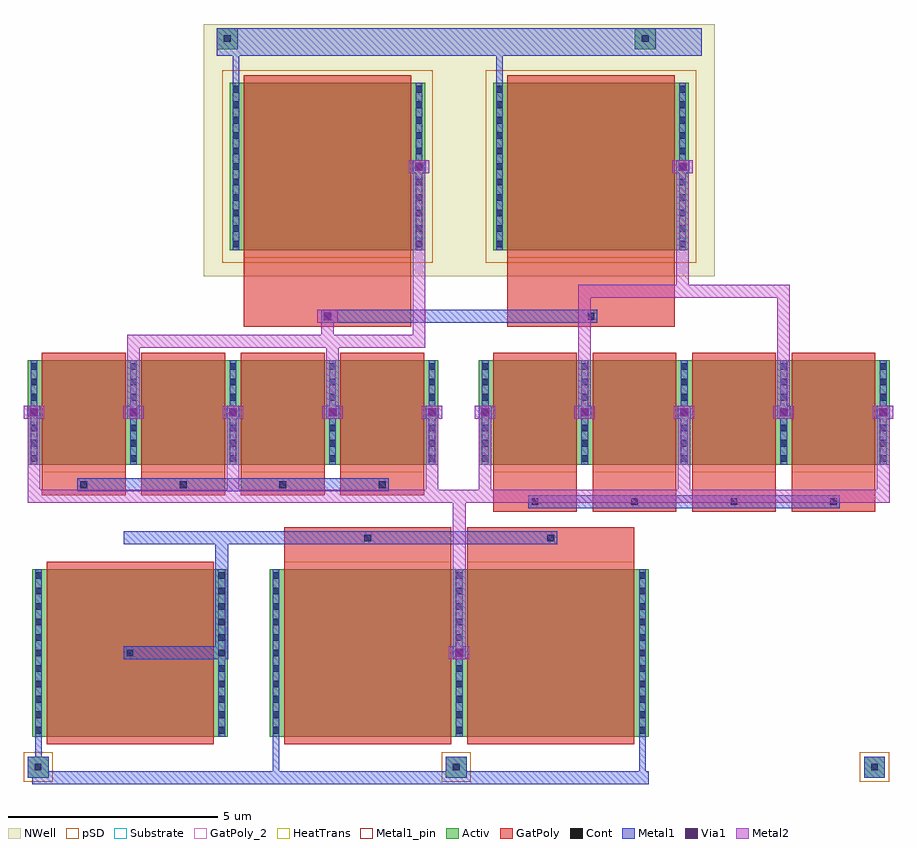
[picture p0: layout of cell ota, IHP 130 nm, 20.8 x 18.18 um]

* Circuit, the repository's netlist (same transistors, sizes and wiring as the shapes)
.subckt ota bias_n tail mid_p ota_out vref_ota sum_n gnd vdd
MMbias_d bias_n bias_n gnd gnd sg13_lv_nmos w=4u l=4u ng=1 m=1
MMtail_0 tail bias_n gnd gnd sg13_lv_nmos w=4u l=4u ng=1 m=1
MMtail_1 gnd bias_n tail gnd sg13_lv_nmos w=4u l=4u ng=1 m=1
MMin_p_0 mid_p vref_ota tail gnd sg13_lv_nmos w=2.5u l=2u ng=1 m=1
MMin_p_1 tail vref_ota mid_p gnd sg13_lv_nmos w=2.5u l=2u ng=1 m=1
MMin_p_2 mid_p vref_ota tail gnd sg13_lv_nmos w=2.5u l=2u ng=1 m=1
MMin_p_3 tail vref_ota mid_p gnd sg13_lv_nmos w=2.5u l=2u ng=1 m=1
MMin_n_0 ota_out sum_n tail gnd sg13_lv_nmos w=2.5u l=2u ng=1 m=1
MMin_n_1 tail sum_n ota_out gnd sg13_lv_nmos w=2.5u l=2u ng=1 m=1
MMin_n_2 ota_out sum_n tail gnd sg13_lv_nmos w=2.5u l=2u ng=1 m=1
MMin_n_3 tail sum_n ota_out gnd sg13_lv_nmos w=2.5u l=2u ng=1 m=1
MMp_load_p mid_p mid_p vdd vdd sg13_lv_pmos w=4u l=4u ng=1 m=1
MMp_load_n ota_out mid_p vdd vdd sg13_lv_pmos w=4u l=4u ng=1 m=1
.ends ota

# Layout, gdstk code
import gdstk
lib = gdstk.Library(unit=1e-6, precision=1e-09)
def R(c, l, rs):  # rectangles x0, y0, x1, y1
    for r in rs: c.add(gdstk.rectangle(r[:2], r[2:], *l))
def A(c, l, x, y, w, h, nx, ny, dx, dy):  # array of equal rectangles
    R(c, l, [(x+i*dx, y+j*dy, x+i*dx+w, y+j*dy+h) for i in range(nx) for j in range(ny)])
Activ = (1, 0)
GatPoly = (5, 0)
GatPoly_2 = (5, 2)
Cont = (6, 0)
Metal1 = (8, 0)
Metal1_pin = (8, 2)
Metal2 = (10, 0)
pSD = (14, 0)
Via1 = (19, 0)
NWell = (31, 0)
Substrate = (40, 0)
HeatTrans = (51, 0)

nmos = lib.new_cell('nmos')
R(nmos, Activ, [(0,0,0.3,0.3), (0,0,4.68,4), (4.38,0,4.68,0.3)])
R(nmos, GatPoly, [(0.34,-0.18,4.34,4.18)])
R(nmos, GatPoly_2, [(0.34,-0.18,4.34,4.18)])
A(nmos, Cont, 0.07, 0.07, 0.16, 0.16, 1, 11, 0, 0.37)
A(nmos, Cont, 4.45, 0.07, 0.16, 0.16, 1, 11, 0, 0.37)
R(nmos, Metal1, [(0.07,0,0.23,4), (4.45,0,4.61,4)])
R(nmos, Metal1_pin, [(0.07,0,0.23,4), (4.45,0,4.61,4)])
R(nmos, HeatTrans, [(0.34,-0.18,4.34,4.18)])
nmos.add(gdstk.Label('nmos', (2.34,2), layer=63, texttype=0))
nmos.add(gdstk.Label('nmos', (2.34,2), layer=51, texttype=0))

nmos_1 = lib.new_cell('nmos$1')
A(nmos_1, Activ, 0, 0, 0.3, 0.3, 3, 1, 4.38, 0)
R(nmos_1, Activ, [(0,0,9.06,4)])
R(nmos_1, GatPoly, [(0.34,-0.18,4.34,4.18), (4.72,-0.18,8.72,4.18)])
R(nmos_1, GatPoly_2, [(0.34,-0.18,4.34,4.18)])
A(nmos_1, Cont, 0.07, 0.07, 0.16, 0.16, 3, 11, 4.38, 0.37)
A(nmos_1, Metal1, 0.07, 0, 0.16, 4, 3, 1, 4.38, 0)
R(nmos_1, Metal1_pin, [(0.07,0,0.23,4), (4.45,0,4.61,4)])
R(nmos_1, HeatTrans, [(0.34,-0.18,4.34,4.18), (4.72,-0.18,8.72,4.18)])
nmos_1.add(gdstk.Label('nmos', (2.34,2), layer=63, texttype=0))
nmos_1.add(gdstk.Label('nmos', (2.34,2), layer=51, texttype=0))
nmos_1.add(gdstk.Label('nmos', (6.72,2), layer=51, texttype=0))

nmos_2 = lib.new_cell('nmos$2')
A(nmos_2, Activ, 0, 0, 0.3, 0.3, 5, 1, 2.38, 0)
R(nmos_2, Activ, [(0,0,9.82,2.5)])
A(nmos_2, GatPoly, 0.34, -0.18, 2, 2.86, 4, 1, 2.38, 0)
R(nmos_2, GatPoly_2, [(0.34,-0.18,2.34,2.68)])
A(nmos_2, Cont, 0.07, 0.07, 0.16, 0.16, 5, 3, 2.38, 0.365)
A(nmos_2, Cont, 0.07, 1.17, 0.16, 0.16, 5, 3, 2.38, 0.365)
A(nmos_2, Cont, 0.07, 2.27, 0.16, 0.16, 5, 1, 2.38, 0)
A(nmos_2, Metal1, 0.07, 0, 0.16, 2.5, 5, 1, 2.38, 0)
R(nmos_2, Metal1_pin, [(0.07,0,0.23,2.5), (2.45,0,2.61,2.5)])
A(nmos_2, HeatTrans, 0.34, -0.18, 2, 2.86, 4, 1, 2.38, 0)
nmos_2.add(gdstk.Label('nmos', (1.34,1.25), layer=63, texttype=0))
nmos_2.add(gdstk.Label('nmos', (1.34,1.25), layer=51, texttype=0))
nmos_2.add(gdstk.Label('nmos', (3.72,1.25), layer=51, texttype=0))
nmos_2.add(gdstk.Label('nmos', (6.1,1.25), layer=51, texttype=0))
nmos_2.add(gdstk.Label('nmos', (8.48,1.25), layer=51, texttype=0))

pmos = lib.new_cell('pmos')
R(pmos, Activ, [(0,0,0.3,0.3), (0,0,4.68,4), (4.38,0,4.68,0.3)])
R(pmos, GatPoly, [(0.34,-0.18,4.34,4.18), (0.34,-0.18,4.34,4.18)])
A(pmos, Cont, 0.07, 0.07, 0.16, 0.16, 1, 11, 0, 0.37)
A(pmos, Cont, 4.45, 0.07, 0.16, 0.16, 1, 11, 0, 0.37)
R(pmos, Metal1, [(0.07,0,0.23,4), (0.07,0,0.23,4), (4.45,0,4.61,4), (4.45,0,4.61,4)])
R(pmos, pSD, [(-0.18,-0.3,4.86,4.3)])
R(pmos, NWell, [(-0.31,-0.31,4.99,4.31)])
R(pmos, Substrate, [(4.38,0,4.68,0.3)])
R(pmos, HeatTrans, [(0.34,-0.18,4.34,4.18)])
pmos.add(gdstk.Label('pmos', (2.34,2), layer=63, texttype=0))
pmos.add(gdstk.Label('pmos', (2.34,2), layer=51, texttype=0))

ota = lib.new_cell('ota')
A(ota, Activ, 0, -0.8, 0.5, 0.5, 3, 1, 10, 0)
R(ota, Activ, [(4.52,16.62,5.02,17.12), (14.52,16.62,15.02,17.12)])
A(ota, GatPoly, 11.13, 5.55, 2, 0.95, 4, 1, 2.38, 0)
A(ota, GatPoly, 0.34, 5.95, 2, 0.55, 4, 1, 2.38, 0)
R(ota, GatPoly, [(6.13,4.36,10.13,5.18), (10.51,4.36,14.51,5.18), (5.17,9.98,9.17,11.63), (11.47,9.98,15.47,11.63)])
A(ota, Cont, 0.17, -0.63, 0.16, 0.16, 3, 1, 10, 0)
A(ota, Cont, 12.05, 5.72, 0.16, 0.16, 4, 1, 2.38, 0)
A(ota, Cont, 1.26, 6.12, 0.16, 0.16, 4, 1, 2.38, 0)
R(ota, Cont, [(2.37,2.1,2.53,2.26), (8.05,4.85,8.21,5.01), (12.43,4.85,12.59,5.01), (7.09,10.15,7.25,10.31), (13.39,10.15,13.55,10.31), (4.69,16.79,4.85,16.95), (14.69,16.79,14.85,16.95)])
A(ota, Metal1, 0, -0.8, 0.5, 0.5, 3, 1, 10, 0)
A(ota, Metal1, 11.975, 5.645, 0.31, 0.31, 4, 1, 2.38, 0)
A(ota, Metal1, 1.185, 6.045, 0.31, 0.31, 4, 1, 2.38, 0)
A(ota, Metal1, -0.005, 7.775, 0.31, 0.31, 5, 1, 2.38, 0)
A(ota, Metal1, 10.785, 7.775, 0.31, 0.31, 5, 1, 2.38, 0)
R(ota, Metal1, [(0.11,-0.955,14.85,-0.645), (0.18,-0.645,0.34,0.18), (5.86,-0.645,6.02,0.18), (14.62,-0.645,14.78,0.18), (2.295,2.025,4.795,2.335), (10.165,2.025,10.475,2.335), (4.485,2.335,4.795,4.775), (2.295,4.775,12.665,5.085), (7.975,4.775,8.285,5.085), (12.355,4.775,12.665,5.085), (11.975,5.645,19.425,5.955), (1.185,6.045,8.635,6.355), (7.015,10.075,7.325,10.385), (7.015,10.075,7.325,10.385), (7.015,10.075,13.625,10.385), (13.315,10.075,13.625,10.385), (9.205,13.655,9.515,13.965), (15.505,13.655,15.815,13.965), (4.9,15.81,5.06,16.465), (11.2,15.81,11.36,16.465), (4.52,16.465,16.12,17.12), (4.52,16.62,5.02,17.12), (14.52,16.62,15.02,17.12)])
A(ota, Metal2, 0, 5.775, 0.3, 2.31, 3, 1, 4.76, 0)
A(ota, Metal2, 10.79, 5.775, 0.3, 2.31, 3, 1, 4.76, 0)
A(ota, Metal2, -0.095, 7.775, 0.49, 0.31, 5, 1, 2.38, 0)
A(ota, Metal2, 10.695, 7.775, 0.49, 0.31, 5, 1, 2.38, 0)
R(ota, Metal2, [(10.075,2.025,10.565,2.335), (10.17,2.025,10.47,6.085), (0,5.775,20.61,6.085), (2.38,7.775,2.68,9.785), (7.14,7.775,7.44,9.785), (13.17,7.775,13.47,10.985), (17.93,7.775,18.23,10.985), (2.38,9.475,9.51,9.785), (7.02,9.475,7.32,10.385), (9.21,9.475,9.51,13.965), (6.925,10.075,7.415,10.385), (13.17,10.675,18.23,10.985), (15.51,10.675,15.81,13.965), (9.115,13.655,9.605,13.965), (15.415,13.655,15.905,13.965)])
A(ota, pSD, -0.1, -0.9, 0.7, 0.7, 3, 1, 10, 0)
A(ota, Via1, 0.055, 7.835, 0.19, 0.19, 5, 1, 2.38, 0)
A(ota, Via1, 10.845, 7.835, 0.19, 0.19, 5, 1, 2.38, 0)
R(ota, Via1, [(10.225,2.085,10.415,2.275), (7.075,10.135,7.265,10.325), (9.265,13.715,9.455,13.905), (15.565,13.715,15.755,13.905)])
R(ota, NWell, [(4.21,11.19,16.43,17.22)])
ota.add(gdstk.Reference(nmos, (0.11,0.18)))
ota.add(gdstk.Reference(nmos_1, (5.79,0.18)))
ota.add(gdstk.Reference(nmos_2, (0,6.68)))
ota.add(gdstk.Reference(nmos_2, (10.79,6.68)))
ota.add(gdstk.Reference(pmos, (4.83,11.81)))
ota.add(gdstk.Reference(pmos, (11.13,11.81)))

lib.write_gds('ota.gds')
